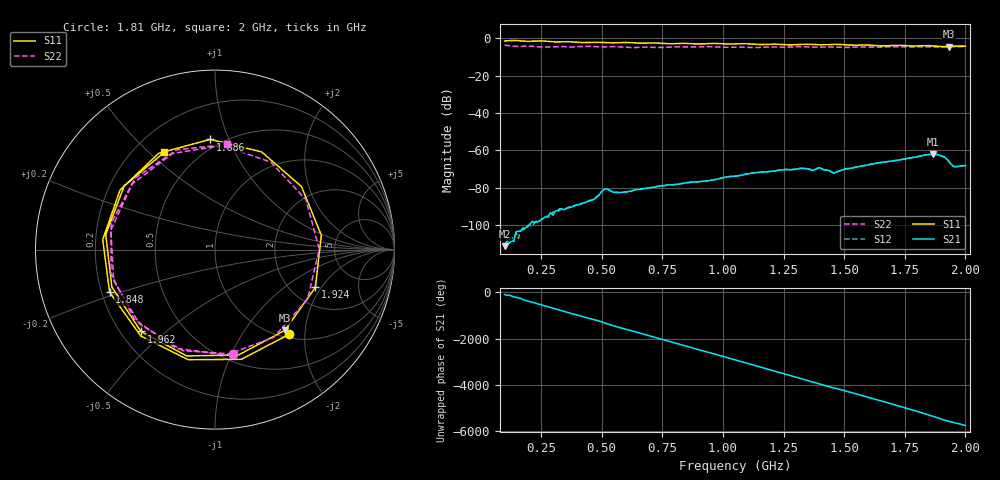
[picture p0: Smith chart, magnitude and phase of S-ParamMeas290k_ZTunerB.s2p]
!Keysight Technologies,N5242B,MY48420967,A.15.65.19
!Date: Thursday, December 22, 2022 14:14:06
!Correction: S11(C  2-Port  )
!S21(C  2-Port  )
!S12(C  2-Port  )
!S22(C  2-Port  )
!S2P File: Measurements: S11, S21, S12, S22:
# Hz S  dB  R 50
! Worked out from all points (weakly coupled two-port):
!   201 points, 100 MHz to 2 GHz, reference 50 ohm
!   highest |S21| = -62.17 dB at 1.867 GHz (marker M1); lowest = -111.3 dB at 100 MHz (marker M2)
!   lowest |S11| = -4.5 dB at 1.933 GHz (marker M3), VSWR 3.94, Z = 56.1 - j78.2 ohm
!   |S11| at or under -10 dB: nowhere
!   |S22| runs from -5.0 to -3.7 dB; largest |S21 - S12| = 6.3e-06
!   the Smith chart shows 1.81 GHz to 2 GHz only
!   S11 on the Smith chart (normalised r, x): 1.81 GHz: 1.07, -1.66; 1.848 GHz: 0.23, -0.18; 1.886 GHz: 0.43, +0.86; 1.924 GHz: 2.70, -1.76; 1.962 GHz: 0.28, -0.41; 2 GHz: 0.32, +0.56
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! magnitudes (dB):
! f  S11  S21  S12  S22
! 100 MHz  -1.5  -111.3  -110.5  -3.7
! 252 MHz  -1.4  -96.9  -96.9  -4.7
! 423 MHz  -2.3  -88.4  -88.3  -4.4
! 698.5 MHz  -2.6  -80.1  -80.0  -4.9
! 736.5 MHz  -2.6  -79.2  -79.1  -5.0
! 926.5 MHz  -3.0  -76.5  -76.6  -4.5
! 1.05 GHz  -3.0  -73.9  -73.8  -4.7
! 1.325 GHz  -3.3  -69.6  -69.6  -4.5
! 1.373 GHz  -3.4  -70.8  -70.8  -4.8
! 1.401 GHz  -3.6  -69.3  -69.3  -4.8
! 1.458 GHz  -3.3  -72.2  -72.2  -4.8
! 1.506 GHz  -3.5  -69.9  -69.9  -5.0
! 1.687 GHz  -4.0  -66.0  -65.9  -4.6
! 1.81 GHz  -4.1  -63.2  -63.2  -4.6
! 1.848 GHz  -4.0  -62.3  -62.2  -4.6
! 1.867 GHz  -4.1  -62.2  -62.2  -4.7
! 1.886 GHz  -4.2  -62.3  -62.3  -4.8
! 1.924 GHz  -4.5  -64.8  -64.7  -4.6
! 1.933 GHz  -4.5  -66.3  -66.3  -4.6
! 1.952 GHz  -4.3  -68.7  -68.6  -4.5
! 1.962 GHz  -4.2  -68.7  -68.7  -4.5
! 2 GHz  -4.3  -68.2  -68.2  -4.6
